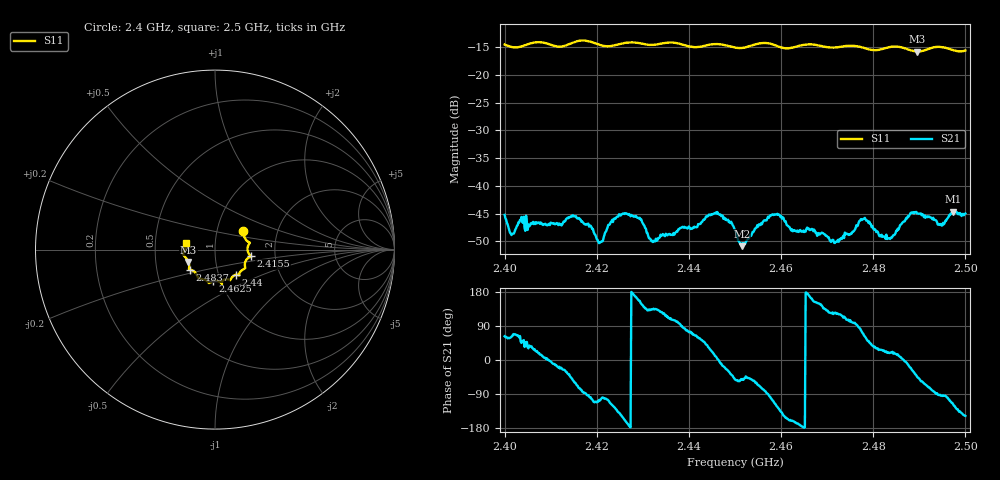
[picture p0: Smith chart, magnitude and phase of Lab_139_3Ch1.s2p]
# Hz S RI R 50
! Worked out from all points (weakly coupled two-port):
!   601 points, 2.4 GHz to 2.5 GHz, reference 50 ohm
!   highest |S21| = -44.65 dB at 2.4973 GHz (marker M1); lowest = -50.9 dB at 2.4515 GHz (marker M2)
!   lowest |S11| = -15.7 dB at 2.4895 GHz (marker M3), VSWR 1.39, Z = 36.8 - j5.15 ohm
!   |S11| at or under -10 dB: start of sweep to end of sweep
!   S12 and S22 are empty: the file has one direction only
!   S11 on the Smith chart (normalised r, x): 2.4 GHz: 1.33, +0.29; 2.4155 GHz: 1.49, -0.11; 2.44 GHz: 1.21, -0.35; 2.4625 GHz: 0.92, -0.34; 2.4837 GHz: 0.74, -0.17; 2.5 GHz: 0.72, +0.05
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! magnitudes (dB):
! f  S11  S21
! 2.4 GHz  -14.5  -45.2
! 2.4017 GHz  -14.9  -48.7
! 2.4155 GHz  -13.9  -45.5
! 2.4167 GHz  -13.7  -46.5
! 2.4208 GHz  -14.6  -50.2
! 2.4267 GHz  -14.1  -45.1
! 2.4333 GHz  -14.4  -49.4
! 2.44 GHz  -14.8  -47.3
! 2.4458 GHz  -14.4  -44.8
! 2.45 GHz  -15.0  -48.1
! 2.4515 GHz  -15.1  -50.9
! 2.4582 GHz  -14.5  -45.1
! 2.4625 GHz  -15.0  -48.2
! 2.4667 GHz  -14.4  -47.8
! 2.472 GHz  -15.0  -50.1
! 2.4778 GHz  -15.0  -46.0
! 2.4833 GHz  -15.0  -49.5
! 2.4837 GHz  -14.9  -49.6
! 2.4895 GHz  -15.7  -44.9
! 2.4945 GHz  -14.9  -47.1
! 2.4973 GHz  -15.5  -44.7
! 2.5 GHz  -15.6  -45.0
